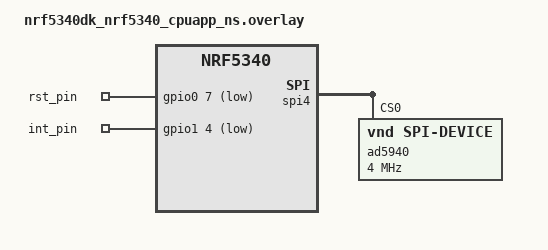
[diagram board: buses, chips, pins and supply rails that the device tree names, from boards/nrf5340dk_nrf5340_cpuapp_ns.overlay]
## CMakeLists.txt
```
cmake_minimum_required(VERSION 3.20.0)
find_package(Zephyr REQUIRED HINTS $ENV{ZEPHYR_BASE})

project(proyectoSAC)

target_sources(app PRIVATE
    src/main.c

    # Drivers
    scripts/drivers/BNO055.c
    scripts/drivers/ble.c

    # Utils
    scripts/utils/fall_detection.c
    scripts/utils/utils.c
)

target_include_directories(app PRIVATE
    scripts/drivers
    scripts/utils
)
```

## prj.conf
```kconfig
CONFIG_I2C=y
CONFIG_PRINTK=y
CONFIG_LOG=y
CONFIG_UART_CONSOLE=y
CONFIG_CBPRINTF_FP_SUPPORT=y

CONFIG_BT=y
CONFIG_BT_PERIPHERAL=y
CONFIG_BT_DEVICE_NAME="FALL_SENSOR"
CONFIG_BT_MAX_CONN=1
CONFIG_BT_MAX_PAIRED=1
```

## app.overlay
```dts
&pinctrl {
    i2c1_default: i2c1_default {
        group1 {
            psels = <NRF_PSEL(TWIM_SDA, 0, 26)>,
                    <NRF_PSEL(TWIM_SCL, 0, 27)>;
        };
    };

    i2c1_sleep: i2c1_sleep {
        group1 {
            psels = <NRF_PSEL(TWIM_SDA, 0, 26)>,
                    <NRF_PSEL(TWIM_SCL, 0, 27)>;
            low-power-enable;
        };
    };
};

&i2c1 {
    status = "okay";

    pinctrl-0 = <&i2c1_default>;
    pinctrl-1 = <&i2c1_sleep>;
    pinctrl-names = "default", "sleep";

    bno055: bno055@28 {
        compatible = "bosch,bno055";
        reg = <0x28>;
        status = "okay";
    };
};
```

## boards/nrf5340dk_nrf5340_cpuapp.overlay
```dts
/*
 * AD5940 on nRF5340 DK using Arduino header pins with SPIM2
 * (simpler peripheral than SPIM4 — no high-speed DMA)
 *
 *   SCK  -> D13 -> P1.15
 *   MOSI -> D11 -> P1.13
 *   MISO -> D12 -> P1.14
 *   CS   -> D10 -> P1.12  (manual GPIO)
 *   INT  -> D2  -> P1.04
 *   RST  ->       P0.07
 */

/* Disable SPIM4 — we use SPIM2 instead */
&spi4 {
	status = "disabled";
};

&pinctrl {
	spi2_default: spi2_default {
		group1 {
			psels = <NRF_PSEL(SPIM_SCK, 1, 15)>,
				<NRF_PSEL(SPIM_MOSI, 1, 13)>,
				<NRF_PSEL(SPIM_MISO, 1, 14)>;
		};
	};
	spi2_sleep: spi2_sleep {
		group1 {
			psels = <NRF_PSEL(SPIM_SCK, 1, 15)>,
				<NRF_PSEL(SPIM_MOSI, 1, 13)>,
				<NRF_PSEL(SPIM_MISO, 1, 14)>;
			low-power-enable;
		};
	};
};

&spi2 {
	compatible = "nordic,nrf-spim";
	status = "okay";
	pinctrl-0 = <&spi2_default>;
	pinctrl-1 = <&spi2_sleep>;
	pinctrl-names = "default", "sleep";
	/delete-property/ cs-gpios;
};

/ {
	ad5940_gpios {
		compatible = "gpio-leds";
		cs_pin: cs_pin {
			gpios = <&gpio1 12 GPIO_ACTIVE_LOW>;
		};
		rst_pin: rst_pin {
			gpios = <&gpio0 7 GPIO_ACTIVE_LOW>;
		};
		int_pin: int_pin {
			gpios = <&gpio1 4 (GPIO_PULL_UP | GPIO_ACTIVE_LOW)>;
		};
	};
};
```

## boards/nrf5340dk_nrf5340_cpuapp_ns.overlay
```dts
/*
 * AD5940 on nRF5340 DK using Arduino header SPI (spi4)
 *   SCK  -> D13 -> P1.15  (handled by spi4 pinctrl)
 *   MOSI -> D11 -> P1.13  (handled by spi4 pinctrl)
 *   MISO -> D12 -> P1.14  (handled by spi4 pinctrl)
 *   CS   -> D10 -> P1.12  (handled by spi4 cs-gpios)
 *   INT  -> D2  -> P1.04  (AD5940 GP0 interrupt)
 *   RST  ->       P0.07
 */

&spi4 {
	status = "okay";
	/* cs-gpios already defined in base DTS: &arduino_header 0x10 GPIO_ACTIVE_LOW = P1.12 */

	ad5940: ad5940@0 {
		compatible = "vnd,spi-device";
		reg = <0>;
		spi-max-frequency = <4000000>;
	};
};

/ {
	ad5940_gpios {
		compatible = "gpio-leds";
		rst_pin: rst_pin {
			gpios = <&gpio0 7 GPIO_ACTIVE_LOW>;
		};
		int_pin: int_pin {
			gpios = <&gpio1 4 (GPIO_PULL_UP | GPIO_ACTIVE_LOW)>;
		};
	};
};
```

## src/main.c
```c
#include <zephyr/kernel.h>
#include <zephyr/device.h>
#include <zephyr/drivers/i2c.h>
#include <zephyr/sys/printk.h>

#include <math.h>
#include <string.h>

#include "BNO055.h"
#include "fall_detection.h"
#include "ble.h"

#define I2C_NODE DT_NODELABEL(bno055)

/* ================= SENSOR ================= */

static struct bno055_dev bno = {
    .i2c = I2C_DT_SPEC_GET(I2C_NODE),
};

/* ================= MAIN ================= */

int main(void)
{
    printk("=== FALL DETECTION PROJECT ===\n");

    /* BLE */

    ble_init();

    /* I2C */

    if (!device_is_ready(bno.i2c.bus)) {

        printk("Error: I2C no listo\n");

        return 0;
    }

    /* SENSOR */

    if (bno055_init(&bno) != 0) {

        printk("Error inicializando BNO055\n");

        return 0;
    }

    printk("BNO055 listo\n");

    /* FALL DETECTION */

    FallDetection_Init();

    /* VARIABLES */

    float ax, ay, az;
    float gx, gy, gz;
    float qw, qx, qy, qz;

    char fall_msg[256];
    fall_result_t fall;

    while (1) {

        /* ================= LEER SENSOR ================= */

        bno055_read_accel(&bno,
                          &ax,
                          &ay,
                          &az);

        bno055_read_gyro(&bno,
                         &gx,
                         &gy,
                         &gz);

        bno055_read_quat(&bno,
                         &qw,
                         &qx,
                         &qy,
                         &qz);

        /* ================= DETECCIÓN ================= */
        fall = FallDetection_Update(ax, ay, az, gx, gy, gz, qw, qx, qy, qz, k_uptime_get());
        // printk("AX: %.2f| AY: %.2f| AZ: %.2f\n", ax, ay, az);
        // printk("GX: %.2f| GY: %.2f| GZ: %.2f\n", gx, gy, gz);
        // printk("QW: %.2f| QX: %.2f| QY: %.2f| QZ: %.2f\n", qw, qx, qy, qz);
        // k_msleep(500);
        if (fall != FALL_NONE)
        {
            printk("\n");
            printk("====================================\n");
            printk("======= CAIDA DETECTADA ============\n");
            printk("====================================\n");

            /* construir mensaje */

            FallDetection_BuildMessage(
                fall,
                fall_msg,
                sizeof(fall_msg));

            /* mostrar */

            printk("DATA: %s\n", fall_msg);

            /* enviar BLE */

            int err = ble_send(
                (uint8_t *)fall_msg,
                strlen(fall_msg));

            printk("BLE SEND: %d\n", err);
        }

        k_msleep(10);
    }
}
```
